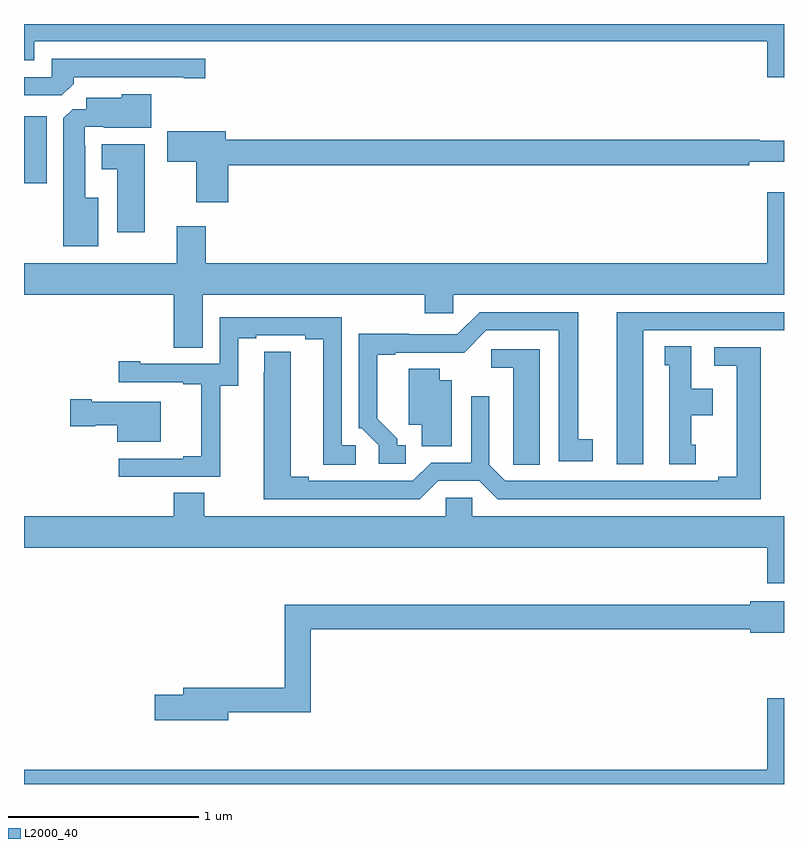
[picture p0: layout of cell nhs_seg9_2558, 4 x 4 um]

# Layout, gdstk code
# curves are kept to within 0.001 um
import gdstk
lib = gdstk.Library(unit=1e-6, precision=1e-09)
def R(c, l, rs):  # rectangles x0, y0, x1, y1
    for r in rs: c.add(gdstk.rectangle(r[:2], r[2:], *l))
def P(c, l, *ps):  # polygons
    for p in ps: c.add(gdstk.Polygon(p, *l))
L2000_40 = (2000, 40)

nhs_seg9_2558 = lib.new_cell('nhs_seg9_2558')
R(nhs_seg9_2558, L2000_40, [(257,1207.661,257.119,1208.014)])
P(nhs_seg9_2558, L2000_40, [(261,1208.5),(257,1208.5),(257,1208.309),(257.053,1208.309),(257.053,1208.408),(260.912,1208.408),(260.912,1208.22),(261,1208.22)],
  [(257.261,1208.186),(257.261,1208.22),(257.84,1208.22),(257.84,1208.215),(257.953,1208.215),(257.953,1208.316),(257.145,1208.316),(257.145,1208.22),(257,1208.22),(257,1208.124),(257.199,1208.124)],
  [(257.392,1207.585),(257.323,1207.585),(257.323,1207.859),(257.319,1207.859),(257.319,1207.959),(257.419,1207.959),(257.419,1207.955),(257.671,1207.955),(257.671,1208.131),(257.514,1208.131),(257.514,1208.113),(257.327,1208.113),(257.327,1208.052),(257.256,1208.052),(257.207,1208.003),(257.207,1207.331),(257.392,1207.331)],
  [(258.074,1207.756),(260.816,1207.756),(260.816,1207.775),(261,1207.775),(261,1207.885),(260.872,1207.885),(260.872,1207.892),(258.061,1207.892),(258.061,1207.936),(257.754,1207.936),(257.754,1207.774),(257.906,1207.774),(257.906,1207.563),(258.074,1207.563)],
  [(257.635,1207.867),(257.408,1207.867),(257.408,1207.736),(257.492,1207.736),(257.492,1207.404),(257.635,1207.404)],
  [(257.941,1207.076),(259.109,1207.076),(259.109,1206.978),(259.26,1206.978),(259.26,1207.076),(261,1207.076),(261,1207.615),(260.912,1207.615),(260.912,1207.24),(257.957,1207.24),(257.957,1207.435),(257.804,1207.435),(257.804,1207.24),(257,1207.24),(257,1207.076),(257.789,1207.076),(257.789,1206.796),(257.941,1206.796)],
  [(260.26,1206.888),(261,1206.888),(261,1206.984),(260.12,1206.984),(260.12,1206.183),(260.26,1206.183)],
  [(259.009,1206.282),(258.964,1206.282),(258.964,1206.317),(258.859,1206.422),(258.859,1206.759),(258.955,1206.759),(258.955,1206.771),(259.316,1206.77),(259.434,1206.888),(259.814,1206.888),(259.814,1206.198),(259.993,1206.198),(259.993,1206.314),(259.918,1206.314),(259.918,1206.984),(259.398,1206.984),(259.281,1206.867),(259.025,1206.867),(259.025,1206.869),(258.762,1206.869),(258.762,1206.372),(258.777,1206.372),(258.867,1206.282),(258.867,1206.186),(259.009,1206.186)],
  [(258.033,1206.595),(258.127,1206.595),(258.127,1206.846),(258.223,1206.846),(258.223,1206.861),(258.479,1206.861),(258.479,1206.841),(258.575,1206.841),(258.575,1206.181),(258.745,1206.181),(258.745,1206.282),(258.672,1206.282),(258.672,1206.957),(258.03,1206.957),(258.03,1206.711),(257.611,1206.711),(257.611,1206.724),(257.499,1206.724),(257.499,1206.615),(257.837,1206.615),(257.837,1206.603),(257.933,1206.603),(257.933,1206.226),(257.837,1206.226),(257.837,1206.213),(257.499,1206.213),(257.499,1206.117),(258.033,1206.117)],
  [(260.536,1206.285),(260.512,1206.285),(260.512,1206.44),(260.626,1206.44),(260.626,1206.58),(260.512,1206.58),(260.512,1206.803),(260.372,1206.803),(260.372,1206.705),(260.396,1206.705),(260.396,1206.183),(260.536,1206.183)],
  [(259.179,1206.096),(259.397,1206.096),(259.493,1206),(260.878,1206),(260.878,1206.798),(260.634,1206.798),(260.634,1206.702),(260.75,1206.702),(260.75,1206.116),(260.654,1206.116),(260.654,1206.096),(259.533,1206.096),(259.449,1206.18),(259.449,1206.541),(259.353,1206.541),(259.353,1206.192),(259.143,1206.192),(259.047,1206.096),(258.499,1206.096),(258.499,1206.116),(258.403,1206.116),(258.403,1206.776),(258.264,1206.776),(258.263,1206),(259.083,1206)],
  [(259.714,1206.789),(259.458,1206.789),(259.458,1206.692),(259.574,1206.692),(259.574,1206.289),(259.575,1206.289),(259.575,1206.181),(259.714,1206.181)],
  [(259.252,1206.625),(259.189,1206.625),(259.189,1206.686),(259.025,1206.686),(259.025,1206.392),(259.094,1206.392),(259.094,1206.277),(259.252,1206.277)],
  [(257.719,1206.511),(257.356,1206.511),(257.356,1206.524),(257.244,1206.524),(257.244,1206.382),(257.376,1206.382),(257.376,1206.389),(257.492,1206.389),(257.492,1206.302),(257.719,1206.302)],
  [(261,1205.908),(259.359,1205.908),(259.359,1206.006),(259.221,1206.006),(259.221,1205.908),(257.949,1205.908),(257.949,1206.032),(257.789,1206.032),(257.789,1205.908),(257,1205.908),(257,1205.744),(260.912,1205.744),(260.912,1205.556),(261,1205.556)],
  [(258.076,1204.878),(258.509,1204.878),(258.509,1205.314),(260.822,1205.314),(260.822,1205.296),(261,1205.296),(261,1205.461),(260.822,1205.461),(260.822,1205.443),(258.373,1205.443),(258.373,1205.006),(257.837,1205.006),(257.837,1204.97),(257.688,1204.97),(257.688,1204.835),(258.076,1204.835)],
  [(261,1204.951),(260.912,1204.951),(260.912,1204.576),(257,1204.576),(257,1204.5),(261,1204.5)])

lib.write_gds('nhs_seg9_2558.gds')
